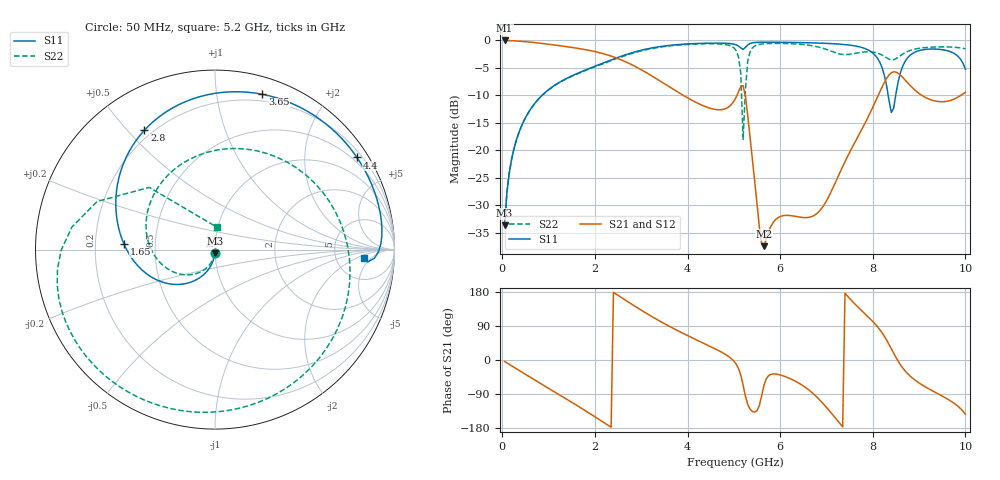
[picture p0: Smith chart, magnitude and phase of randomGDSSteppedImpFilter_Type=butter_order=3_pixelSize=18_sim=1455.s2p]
! freq	dB(S11)	phase(S11)	dB(S12)	phase(S12)
!  dB(S21)	phase(S21)	dB(S22)	phase(S22)
!S-par simulation data
#  GHz  S  DB  R 50
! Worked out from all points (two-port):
!   200 points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, 50 MHz to 10 GHz, reference 50 ohm
!   highest |S21| = -0.01 dB at 50 MHz (marker M1); lowest = -37.4 dB at 5.65 GHz (marker M2)
!   |S21| within 3 dB of the highest: start of sweep to 2.404 GHz
!   lowest |S11| = -33.6 dB at 50 MHz (marker M3), VSWR 1.04, Z = 49.8 - j2.08 ohm
!   |S11| at or under -10 dB: start of sweep to 856.6 MHz; 8.333 GHz to 8.495 GHz (161.7 MHz wide, 1.92 % of centre)
!   |S22| runs from -33.6 to -0.5 dB; largest |S21 - S12| = 0
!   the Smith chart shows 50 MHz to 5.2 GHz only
!   S11 on the Smith chart (normalised r, x): 50 MHz: 1.00, -0.04; 1.65 GHz: 0.33, +0.03; 2.8 GHz: 0.17, +0.56; 3.65 GHz: 0.14, +1.34; 4.4 GHz: 0.36, +3.34; 5.2 GHz: 10, -3
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0.05  -33.62 -93.0  -0.01 -3.9  -0.01 -3.9  -33.62 -94.3
0.45  -14.90 -118.8  -0.19 -34.1  -0.19 -34.1  -14.93 -130.3
1.65  -5.90 176.7  -1.47 -122.8  -1.47 -122.8  -5.98 116.3
1.75  -5.54 172.1  -1.61 -130.4  -1.61 -130.4  -5.63 105.7
2.8  -2.24 120.6  -4.43 146.8  -4.43 146.8  -2.37 -8.6
3.4  -1.13 87.0  -7.34 102.7  -7.34 102.7  -1.23 -62.9
3.65  -0.87 73.1  -8.66 86.1  -8.66 86.1  -0.96 -81.9
4.4  -0.51 33.0  -12.09 41.1  -12.09 41.1  -0.61 -130.8
5.05  -0.80 -0.7  -10.32 -11.0  -10.32 -11.0  -1.87 171.0
5.15  -1.36 -4.6  -8.38 -40.1  -8.38 -40.1  -5.95 136.6
5.2  -1.62 -3.4  -8.24 -66.4  -8.24 -66.4  -18.01 85.3
5.3  -0.81 -3.9  -13.64 -117.1  -13.64 -117.1  -3.76 -115.5
5.65  -0.33 -23.0  -37.42 -66.7  -37.42 -66.7  -0.61 -171.9
6.7  -0.45 -68.7  -31.97 -87.2  -31.97 -87.2  -0.98 102.4
7.2  -0.63 -91.0  -25.70 -154.1  -25.70 -154.1  -2.26 10.9
7.55  -0.92 -109.4  -19.56 155.9  -19.56 155.9  -2.45 -78.0
8.1  -3.22 -160.3  -10.33 88.1  -10.33 88.1  -2.30 -161.6
8.35  -10.86 122.2  -6.29 41.3  -6.29 41.3  -3.41 -178.0
8.6  -5.79 -40.3  -6.33 -13.0  -6.33 -13.0  -2.74 177.5
9  -1.85 -100.3  -9.65 -60.7  -9.65 -60.7  -1.44 155.8
9.65  -1.97 -151.3  -10.98 -105.7  -10.98 -105.7  -1.19 125.3
10  -5.23 159.1  -9.44 -143.1  -9.44 -143.1  -1.52 111.7
